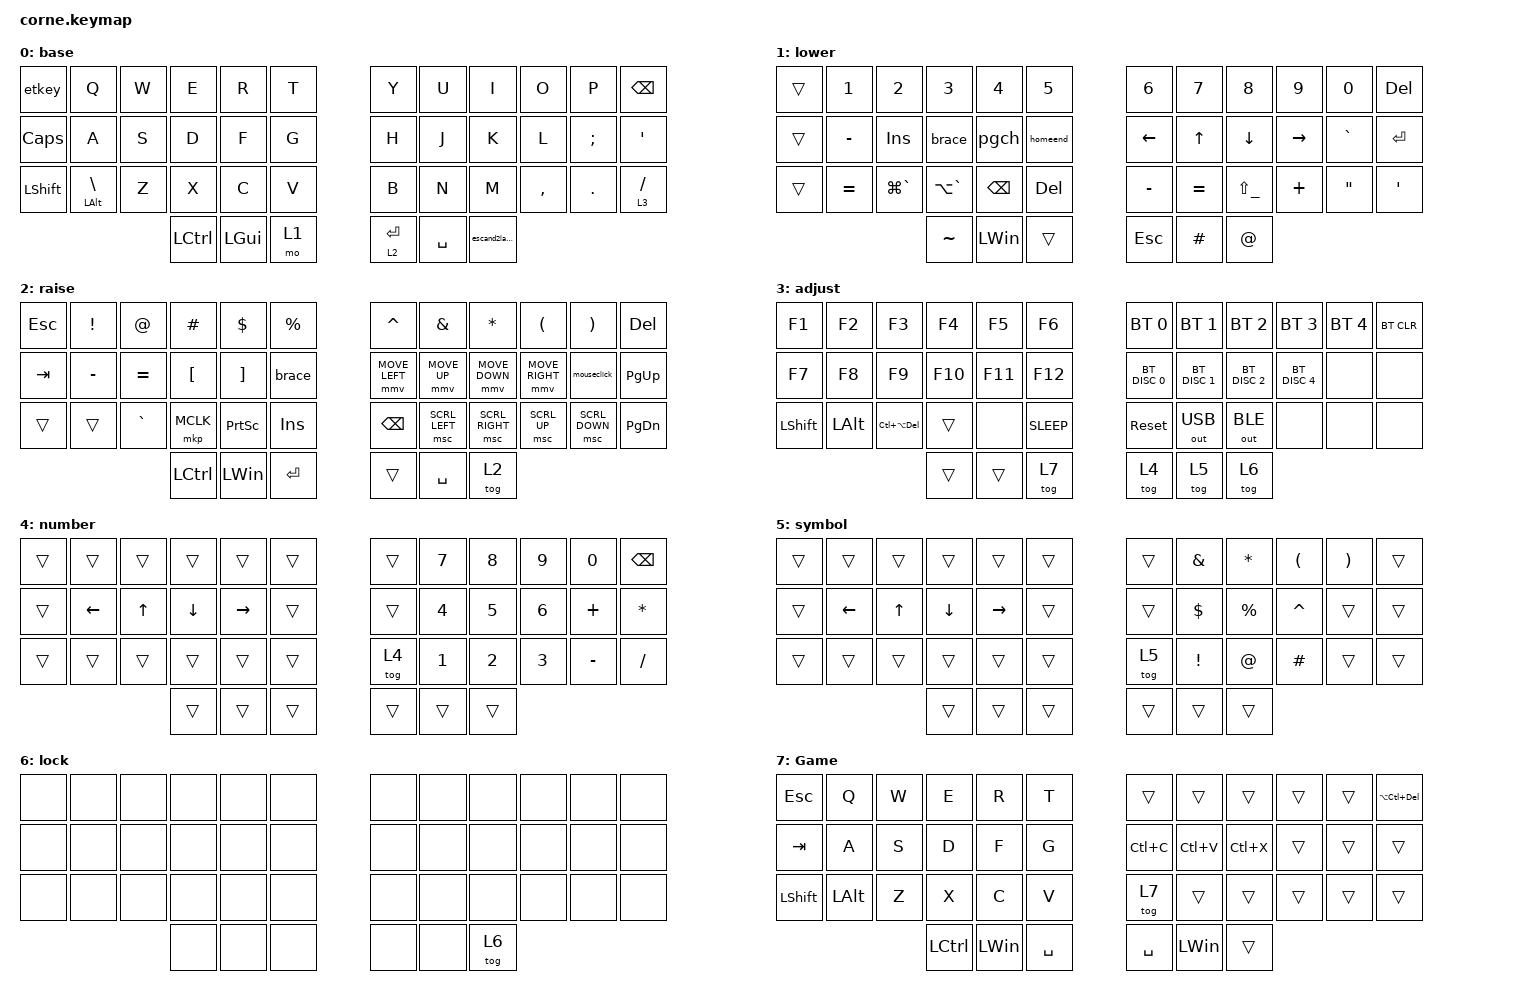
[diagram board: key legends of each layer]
/*
 * Copyright (c) 2020 The ZMK Contributors
 *
 * SPDX-License-Identifier: MIT
 */

#include <behaviors.dtsi>
#include <dt-bindings/zmk/bt.h>
#include <dt-bindings/zmk/keys.h>
#include <dt-bindings/zmk/outputs.h>
#include <dt-bindings/zmk/pointing.h>

/ {
    combos {
        compatible = "zmk,combos";

        cb_Esc {
            bindings = <&kp ESCAPE>;
            key-positions = <19 20>;
        };
    };

    behaviors {
        escand2layer: escand2layer {
            compatible = "zmk,behavior-tap-dance";
            label = "ESCAND2LAYER";
            #binding-cells = <0>;
            bindings = <&kp ESC>, <&tog 2>;

            tapping-term-ms = <160>;
        };

        brace: brace {
            compatible = "zmk,behavior-tap-dance";
            label = "BRACE";
            #binding-cells = <0>;
            bindings = <&kp LEFT_BRACE>, <&kp RIGHT_BRACE>;

            tapping-term-ms = <200>;
        };

        etkey: etkey {
            compatible = "zmk,behavior-tap-dance";
            label = "ETKEY";
            #binding-cells = <0>;
            bindings = <&kp TAB>, <&kp ESC>;

            tapping-term-ms = <160>;
        };

        pgch: pgch {
            compatible = "zmk,behavior-tap-dance";
            label = "PGCH";
            #binding-cells = <0>;
            bindings = <&kp PAGE_DOWN>, <&kp PG_UP>;

            tapping-term-ms = <200>;
        };

        homeend: homeend {
            compatible = "zmk,behavior-tap-dance";
            label = "HOMEEND";
            #binding-cells = <0>;
            bindings = <&kp HOME>, <&kp END>;

            tapping-term-ms = <200>;
        };

        mouseclick: mouseclick {
            compatible = "zmk,behavior-tap-dance";
            label = "MOUSECLICK";
            #binding-cells = <0>;
            bindings = <&mkp LCLK>, <&mkp RCLK>;

            tapping-term-ms = <200>;
        };

        mousescroll: mousescroll {
            compatible = "zmk,behavior-tap-dance";
            label = "MOUSESCROLL";
            #binding-cells = <0>;
            bindings = <&msc SCRL_DOWN>, <&msc SCRL_UP>;

            tapping-term-ms = <200>;
        };
    };

    keymap {
        compatible = "zmk,keymap";

        default_layer {
            // -------------------------------------------------------------------------------------
            // |  TAB |  Q  |  W  |  E  |  R  |  T  |       |  Y  |  U   |  I  |  O  |  P  |   BKSP    |
            // | SHFT |  A  |  S  |  D  |  F  |  G  |       |  H  |  J   |  K  |  L  |  ;  |    '      |
            // | CTRL |  Z  |  X  |  C  |  V  |  B  |       |  N  |  M   |  ,  |  .  |  /  | SHFT(RET) |
            //                    | ALT | WIN | LWR |       | RSE | SPC  | RTN |

            label = "base";
            bindings = <
&etkey          &kp Q                   &kp W  &kp E      &kp R     &kp T    &kp Y      &kp U      &kp I          &kp O      &kp P       &kp BSPC
&kp CAPS        &kp A                   &kp S  &kp D      &kp F     &kp G    &kp H      &kp J      &kp K          &kp L      &kp SEMI    &kp SQT
&kp LEFT_SHIFT  &mt LEFT_ALT BACKSLASH  &kp Z  &kp X      &kp C     &kp V    &kp B      &kp N      &kp M          &kp COMMA  &kp PERIOD  &lt 3 SLASH
                                               &kp LCTRL  &kp LGUI  &mo 1    &lt 2 RET  &kp SPACE  &escand2layer
            >;
        };

        lower_layer {
            // ----------------------------------------------------------------------------------
            // |    |  !  |  @  |  #  |  $  |  %  |          |  ^  |  &  |  *  |  (  |  )  |    DEL   |
            // |    |  _  |  +  |  {  |  }  | "|" |          | LFT | PGUP|  UP |PGDN|  `  |     ~     |
            // |    | ESC | GUI | ALT | CAPS|  "  |          | HOME| LFT | DWN | RGT| PRSC| SHFT(RET) |
            //                        |     |     |           | ADJ | SPC |  RET  |

            label = "lower";
            bindings = <
&trans  &kp N1     &kp NUMBER_2   &kp N3         &kp N4         &kp N5      &kp NUMBER_6    &kp N7        &kp N8              &kp N9     &kp N0             &kp DEL
&trans  &kp MINUS  &kp INS        &brace         &pgch          &homeend    &kp LEFT_ARROW  &kp UP_ARROW  &kp DOWN            &kp RIGHT  &kp GRAVE          &kp RETURN
&trans  &kp EQUAL  &kp LG(GRAVE)  &kp LA(GRAVE)  &kp BACKSPACE  &kp DEL     &kp MINUS       &kp EQUAL     &kp LS(UNDERSCORE)  &kp PLUS   &kp DOUBLE_QUOTES  &kp SQT
                                  &kp TILDE      &kp LEFT_WIN   &trans      &kp ESCAPE      &kp HASH      &kp AT
            >;
        };

        raise_layer {
            // -----------------------------------------------------------------------------------------
            // |    |  1  |  2  |  3  |  4  |  5  |   |  6  |  7  |  8  |  9  |  0  | DEL |
            // |    |  -  |  =  |  [  |  ]  |  \  |   | F1  | F2  | F3  | F4  | F5  | F6  |
            // |    | ESC | GUI | ALT | CAPS|  "  |   | F7  | F8  | F9  | F10 | F11 | F12 |
            //                       |     | ADJ | BKSP |    |     |

            label = "raise";
            bindings = <
&kp ESC  &kp EXCLAMATION  &kp AT_SIGN  &kp HASH   &kp DOLLAR       &kp PERCENT    &kp CARET       &kp AMPERSAND   &kp ASTERISK     &kp LEFT_PARENTHESIS  &kp RIGHT_PARENTHESIS  &kp DEL
&kp TAB  &kp MINUS        &kp EQUAL    &kp LBKT   &kp RBKT         &brace         &mmv MOVE_LEFT  &mmv MOVE_UP    &mmv MOVE_DOWN   &mmv MOVE_RIGHT       &mouseclick            &kp PG_UP
&trans   &trans           &kp GRAVE    &mkp MCLK  &kp PRINTSCREEN  &kp INSERT     &kp BACKSPACE   &msc SCRL_LEFT  &msc SCRL_RIGHT  &msc SCRL_UP          &msc SCRL_DOWN         &kp PAGE_DOWN
                                       &kp LCTRL  &kp LEFT_WIN     &kp ENTER      &trans          &kp SPACE       &tog 2
            >;
        };

        adjust_layer {
            // -----------------------------------------------------------------------------------------
            // | RGB BRI+ | RGB SAT+ | RGB HUE+ | RGB ANI+ |    | RGB TOG |   |  BT1  | BT2 | BT3 | BT4 | BT5 | BT CLR |
            // | RGB BRI- | RGB SAT- | RGB HUE- | RGB ANI- |    |         |   |  USB  | BLE |     |     |     |        |
            // |          |          |          |          |    | K_SLEEP |   | RESET |     |     |     |     |        |
            //                                              |     |     |     |     |     |

            label = "adjust";
            bindings = <
&kp F1      &kp F2        &kp F3           &kp F4   &kp F5   &kp F6         &bt BT_SEL 0   &bt BT_SEL 1   &bt BT_SEL 2   &bt BT_SEL 3   &bt BT_SEL 4  &bt BT_CLR
&kp F7      &kp F8        &kp F9           &kp F10  &kp F11  &kp F12        &bt BT_DISC 0  &bt BT_DISC 1  &bt BT_DISC 2  &bt BT_DISC 4  &none         &none
&kp LSHIFT  &kp LEFT_ALT  &kp LC(LA(DEL))  &trans   &none    &kp K_SLEEP    &sys_reset     &out OUT_USB   &out OUT_BLE   &none          &none         &none
                                           &trans   &trans   &tog 7         &tog 4         &tog 5         &tog 6
            >;
        };

        number {
            label = "number";
            bindings = <
&trans  &trans    &trans        &trans    &trans     &trans    &trans  &kp N7        &kp NUMBER_8  &kp N9  &kp N0     &kp BACKSPACE
&trans  &kp LEFT  &kp UP_ARROW  &kp DOWN  &kp RIGHT  &trans    &trans  &kp NUMBER_4  &kp N5        &kp N6  &kp PLUS   &kp STAR
&trans  &trans    &trans        &trans    &trans     &trans    &tog 4  &kp NUMBER_1  &kp N2        &kp N3  &kp MINUS  &kp SLASH
                                &trans    &trans     &trans    &trans  &trans        &trans
            >;
        };

        symbol {
            label = "symbol";
            bindings = <
&trans  &trans    &trans        &trans    &trans     &trans    &trans  &kp AMPERSAND  &kp ASTERISK  &kp LEFT_PARENTHESIS  &kp RIGHT_PARENTHESIS  &trans
&trans  &kp LEFT  &kp UP_ARROW  &kp DOWN  &kp RIGHT  &trans    &trans  &kp DOLLAR     &kp PERCENT   &kp CARET             &trans                 &trans
&trans  &trans    &trans        &trans    &trans     &trans    &tog 5  &kp EXCL       &kp AT_SIGN   &kp HASH              &trans                 &trans
                                &trans    &trans     &trans    &trans  &trans         &trans
            >;
        };

        lock {
            label = "lock";
            bindings = <
&none  &none  &none  &none  &none  &none    &none  &none  &none   &none  &none  &none
&none  &none  &none  &none  &none  &none    &none  &none  &none   &none  &none  &none
&none  &none  &none  &none  &none  &none    &none  &none  &none   &none  &none  &none
                     &none  &none  &none    &none  &none  &tog 6
            >;
        };

        Game {
            bindings = <
&kp ESCAPE  &kp Q         &kp W  &kp E      &kp R         &kp T        &trans     &trans        &trans     &trans  &trans  &kp LA(LC(DEL))
&kp TAB     &kp A         &kp S  &kp D      &kp F         &kp G        &kp LC(C)  &kp LC(V)     &kp LC(X)  &trans  &trans  &trans
&kp LSHFT   &kp LEFT_ALT  &kp Z  &kp X      &kp C         &kp V        &tog 7     &trans        &trans     &trans  &trans  &trans
                                 &kp LCTRL  &kp LEFT_WIN  &kp SPACE    &kp SPACE  &kp LEFT_WIN  &trans
            >;
        };
    };
};
